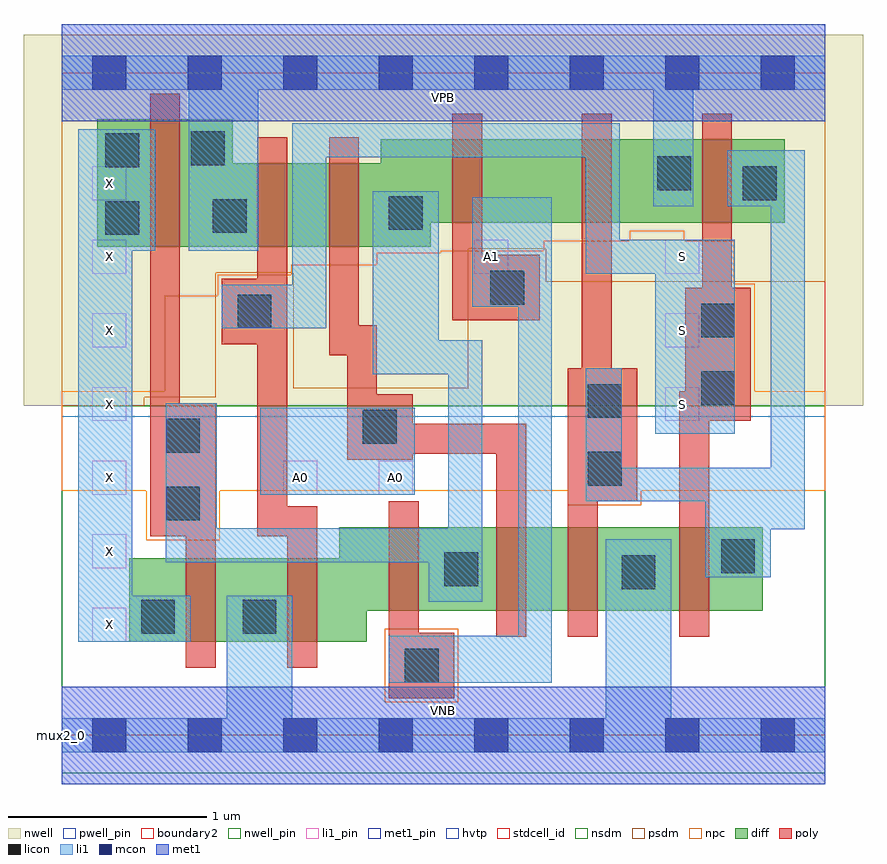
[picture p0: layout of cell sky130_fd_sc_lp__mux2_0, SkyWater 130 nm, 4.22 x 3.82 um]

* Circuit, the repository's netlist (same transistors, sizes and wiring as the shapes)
* Copyright 2020 The SkyWater PDK Authors
*
* Licensed under the Apache License, Version 2.0 (the "License");
* you may not use this file except in compliance with the License.
* You may obtain a copy of the License at
*
*     https://www.apache.org/licenses/LICENSE-2.0
*
* Unless required by applicable law or agreed to in writing, software
* distributed under the License is distributed on an "AS IS" BASIS,
* WITHOUT WARRANTIES OR CONDITIONS OF ANY KIND, either express or implied.
* See the License for the specific language governing permissions and
* limitations under the License.
*
* SPDX-License-Identifier: Apache-2.0

.SUBCKT sky130_fd_sc_lp__mux2_0 A0 A1 S VGND VNB VPB VPWR X
*.PININFO A0:I A1:I S:I VGND:I VNB:I VPB:I VPWR:I X:O
MMNA00 xb A0 smdNA0 VNB sky130_fd_pr__nfet_01v8 m=1 w=0.42U l=0.15U mult=1 sa=0.265
+ sb=0.265 sd=0.28 area=0.063 perim=1.14
MMNA01 smdNA0 Sb VGND VNB sky130_fd_pr__nfet_01v8 m=1 w=0.42U l=0.15U mult=1 sa=0.265
+ sb=0.265 sd=0.28 area=0.063 perim=1.14
MMNA10 xb A1 sndNA1 VNB sky130_fd_pr__nfet_01v8 m=1 w=0.42U l=0.15U mult=1 sa=0.265
+ sb=0.265 sd=0.28 area=0.063 perim=1.14
MMNA11 sndNA1 S VGND VNB sky130_fd_pr__nfet_01v8 m=1 w=0.42U l=0.15U mult=1 sa=0.265
+ sb=0.265 sd=0.28 area=0.063 perim=1.14
MMIN1 Sb S VGND VNB sky130_fd_pr__nfet_01v8 m=1 w=0.42U l=0.15U mult=1 sa=0.265
+ sb=0.265 sd=0.28 area=0.063 perim=1.14
MMIN2 X xb VGND VNB sky130_fd_pr__nfet_01v8 m=1 w=0.42U l=0.15U mult=1 sa=0.265
+ sb=0.265 sd=0.28 area=0.063 perim=1.14
MMPA00 VPWR S sndPS VPB sky130_fd_pr__pfet_01v8_hvt m=1 w=0.42U l=0.15U mult=1
+ sa=0.265 sb=0.265 sd=0.28 area=0.063 perim=1.14
MMPA01 sndPS A0 xb VPB sky130_fd_pr__pfet_01v8_hvt m=1 w=0.42U l=0.15U mult=1 sa=0.265
+ sb=0.265 sd=0.28 area=0.063 perim=1.14
MMPA10 VPWR Sb sndPSb VPB sky130_fd_pr__pfet_01v8_hvt m=1 w=0.42U l=0.15U mult=1
+ sa=0.265 sb=0.265 sd=0.28 area=0.063 perim=1.14
MMPA11 sndPSb A1 xb VPB sky130_fd_pr__pfet_01v8_hvt m=1 w=0.42U l=0.15U mult=1
+ sa=0.265 sb=0.265 sd=0.28 area=0.063 perim=1.14
MMIP1 Sb S VPWR VPB sky130_fd_pr__pfet_01v8_hvt m=1 w=0.42U l=0.15U mult=1 sa=0.265
+ sb=0.265 sd=0.28 area=0.063 perim=1.14
MMIP2 X xb VPWR VPB sky130_fd_pr__pfet_01v8_hvt m=1 w=0.64U l=0.15U mult=1 sa=0.265
+ sb=0.265 sd=0.28 area=0.063 perim=1.14
.ENDS sky130_fd_sc_lp__mux2_0

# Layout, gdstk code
import gdstk
lib = gdstk.Library(unit=1e-6, precision=1e-09)
def R(c, l, rs):  # rectangles x0, y0, x1, y1
    for r in rs: c.add(gdstk.rectangle(r[:2], r[2:], *l))
def A(c, l, x, y, w, h, nx, ny, dx, dy):  # array of equal rectangles
    R(c, l, [(x+i*dx, y+j*dy, x+i*dx+w, y+j*dy+h) for i in range(nx) for j in range(ny)])
def P(c, l, *ps):  # polygons
    for p in ps: c.add(gdstk.Polygon(p, *l))
nwell_pin = (64, 16)
nwell = (64, 20)
diff = (65, 20)
poly = (66, 20)
licon = (66, 44)
li1_pin = (67, 16)
li1 = (67, 20)
mcon = (67, 44)
met1_pin = (68, 16)
met1 = (68, 20)
hvtp = (78, 44)
stdcell_id = (81, 4)
nsdm = (93, 44)
psdm = (94, 20)
npc = (95, 20)
pwell_pin = (122, 16)
boundary2 = (236, 0)

sky130_fd_sc_lp__mux2_0 = lib.new_cell('sky130_fd_sc_lp__mux2_0')
R(sky130_fd_sc_lp__mux2_0, nwell_pin, [(0,3.085,3.84,3.33)])
R(sky130_fd_sc_lp__mux2_0, nwell, [(-0.19,1.655,4.03,3.52)])
P(sky130_fd_sc_lp__mux2_0, diff, [(3.525,1.045),(1.395,1.045),(1.395,0.89),(0.34,0.89),(0.34,0.47),(1.535,0.47),(1.535,0.625),(3.525,0.625)],
  [(3.635,2.995),(1.605,2.995),(1.605,2.875),(0.86,2.875),(0.86,3.095),(0.18,3.095),(0.18,2.455),(1.855,2.455),(1.855,2.575),(3.635,2.575)])
P(sky130_fd_sc_lp__mux2_0, poly, [(0.775,1.67),(0.595,1.67),(0.595,3.225),(0.445,3.225),(0.445,1),(0.625,1),(0.625,0.34),(0.775,0.34)],
  [(1.285,1.15),(1.135,1.15),(1.135,3.005),(0.985,3.005),(0.985,2.295),(0.805,2.295),(0.805,1.965),(0.985,1.965),(0.985,1),(1.135,1),(1.135,0.34),(1.285,0.34)],
  [(1.975,0.515),(1.795,0.515),(1.795,1.175),(1.645,1.175),(1.645,0.185),(1.975,0.185)],
  [(2.335,1.565),(1.765,1.565),(1.765,1.715),(1.585,1.715),(1.585,2.06),(1.495,2.06),(1.495,3.005),(1.345,3.005),(1.345,1.91),(1.435,1.91),(1.435,1.385),(1.765,1.385),(1.765,1.415),(2.185,1.415),(2.185,0.495),(2.335,0.495)],
  [(2.405,2.415),(2.115,2.415),(2.115,3.125),(1.965,3.125),(1.965,2.085),(2.405,2.085)],
  [(2.895,1.845),(2.765,1.845),(2.765,3.125),(2.615,3.125),(2.615,1.845),(2.545,1.845),(2.545,0.495),(2.695,0.495),(2.695,1.175),(2.895,1.175)],
  [(3.465,2.25),(3.37,2.25),(3.37,3.125),(3.22,3.125),(3.22,2.25),(3.135,2.25),(3.135,1.73),(3.105,1.73),(3.105,0.495),(3.255,0.495),(3.255,1.58),(3.465,1.58)])
R(sky130_fd_sc_lp__mux2_0, licon, [(1.725,0.265,1.895,0.435), (0.4,0.51,0.57,0.68), (0.91,0.51,1.08,0.68), (2.815,0.735,2.985,0.905), (1.925,0.75,2.095,0.92), (3.315,0.815,3.485,0.985), (0.525,1.08,0.695,1.25), (2.645,1.255,2.815,1.425), (0.525,1.42,0.695,1.59), (1.515,1.465,1.685,1.635), (2.645,1.595,2.815,1.765), (3.215,1.66,3.385,1.83), (3.215,2,3.385,2.17), (0.885,2.045,1.055,2.215), (2.155,2.165,2.325,2.335), (0.22,2.515,0.39,2.685), (0.76,2.525,0.93,2.695), (1.645,2.54,1.815,2.71), (3.425,2.69,3.595,2.86), (2.995,2.74,3.165,2.91), (0.22,2.855,0.39,3.025), (0.65,2.865,0.82,3.035)])
A(sky130_fd_sc_lp__mux2_0, li1_pin, 0.155, 0.47, 0.17, 0.17, 1, 7, 0, 0.37)
A(sky130_fd_sc_lp__mux2_0, li1_pin, 3.035, 1.58, 0.17, 0.17, 1, 3, 0, 0.37)
R(sky130_fd_sc_lp__mux2_0, li1_pin, [(1.115,1.21,1.285,1.38), (1.595,1.21,1.765,1.38), (2.075,2.32,2.245,2.49)])
R(sky130_fd_sc_lp__mux2_0, li1, [(1,1.21,1.775,1.645)])
P(sky130_fd_sc_lp__mux2_0, li1, [(2.975,2.66),(2.975,3.245),(0.99,3.245),(0.99,2.435),(0.64,2.435),(0.64,3.245),(0,3.245),(0,3.415),(3.84,3.415),(3.84,3.245),(3.175,3.245),(3.175,2.66)],
  [(0.83,0.085),(0.83,0.7),(1.16,0.7),(1.16,0.085),(2.735,0.085),(2.735,0.985),(3.065,0.985),(3.065,0.085),(3.84,0.085),(3.84,-0.085),(0,-0.085),(0,0.085)],
  [(2.805,3.075),(2.805,2.49),(3.385,2.49),(3.385,1.515),(2.985,1.515),(2.985,2.32),(2.635,2.32),(2.635,2.905),(1.33,2.905),(1.33,2.045),(0.805,2.045),(0.805,2.265),(1.16,2.265),(1.16,3.075)],
  [(2.815,1.345),(3.565,1.345),(3.565,2.66),(3.345,2.66),(3.345,2.94),(3.735,2.94),(3.735,1.035),(3.565,1.035),(3.565,0.795),(3.235,0.795),(3.235,1.175),(2.635,1.175),(2.635,1.845),(2.815,1.845)],
  [(2.295,0.5),(2.295,2.155),(2.065,2.155),(2.065,2.705),(2.465,2.705),(2.465,0.265),(1.645,0.265),(1.645,0.5)],
  [(1.895,1.985),(2.115,1.985),(2.115,0.67),(1.845,0.67),(1.845,0.87),(0.525,0.87),(0.525,1.67),(0.78,1.67),(0.78,1.04),(1.945,1.04),(1.945,1.815),(1.565,1.815),(1.565,2.735),(1.895,2.735)],
  [(0.085,0.47),(0.085,3.045),(0.47,3.045),(0.47,2.435),(0.355,2.435),(0.355,0.7),(0.65,0.7),(0.65,0.47)])
A(sky130_fd_sc_lp__mux2_0, mcon, 0.155, -0.085, 0.17, 0.17, 8, 2, 0.48, 3.33)
R(sky130_fd_sc_lp__mux2_0, met1_pin, [(0,0,3.84,0.245), (0,3.085,3.84,3.33)])
R(sky130_fd_sc_lp__mux2_0, met1, [(0,-0.245,3.84,0.245), (0,3.085,3.84,3.575)])
R(sky130_fd_sc_lp__mux2_0, hvtp, [(0,1.6,3.84,3.33)])
R(sky130_fd_sc_lp__mux2_0, stdcell_id, [(0,0,3.84,3.33)])
R(sky130_fd_sc_lp__mux2_0, nsdm, [(0,-0.19,3.84,1.655)])
P(sky130_fd_sc_lp__mux2_0, psdm, [(3.84,3.52),(0,3.52),(0,1.655),(0.415,1.655),(0.415,1.7),(0.775,1.7),(0.775,2.325),(1.165,2.325),(1.165,1.745),(2.045,1.745),(2.045,2.445),(2.435,2.445),(2.435,2.28),(3.84,2.28)])
R(sky130_fd_sc_lp__mux2_0, npc, [(1.625,0.165,1.995,0.535)])
P(sky130_fd_sc_lp__mux2_0, npc, [(3.84,1.73),(3.485,1.73),(3.485,2.27),(3.38,2.27),(3.38,2.485),(3.13,2.485),(3.13,2.535),(2.855,2.535),(2.855,2.485),(2.425,2.485),(2.425,2.435),(1.905,2.435),(1.905,2.425),(1.585,2.425),(1.585,2.365),(1.155,2.365),(1.155,2.315),(0.785,2.315),(0.785,2.21),(0.52,2.21),(0.52,1.73),(0,1.73),(0,1.23),(0.425,1.23),(0.425,0.98),(0.795,0.98),(0.795,1.23),(2.545,1.23),(2.545,1.155),(2.915,1.155),(2.915,1.23),(3.84,1.23)])
R(sky130_fd_sc_lp__mux2_0, pwell_pin, [(0,0,3.84,0.245)])
R(sky130_fd_sc_lp__mux2_0, boundary2, [(0,0,3.84,3.33)])
sky130_fd_sc_lp__mux2_0.add(gdstk.Label('VNB', (1.92,0.123), layer=64, texttype=59))
sky130_fd_sc_lp__mux2_0.add(gdstk.Label('VPB', (1.92,3.208), layer=64, texttype=5))
sky130_fd_sc_lp__mux2_0.add(gdstk.Label('mux2_0', (0,0), layer=83, texttype=44))
sky130_fd_sc_lp__mux2_0.add(gdstk.Label('VPWR', (1.92,3.208), layer=68, texttype=5))
sky130_fd_sc_lp__mux2_0.add(gdstk.Label('VGND', (1.92,0.123), layer=68, texttype=5))
sky130_fd_sc_lp__mux2_0.add(gdstk.Label('S', (3.12,1.665), layer=67, texttype=5))
sky130_fd_sc_lp__mux2_0.add(gdstk.Label('S', (3.12,2.035), layer=67, texttype=5))
sky130_fd_sc_lp__mux2_0.add(gdstk.Label('S', (3.12,2.405), layer=67, texttype=5))
sky130_fd_sc_lp__mux2_0.add(gdstk.Label('A0', (1.2,1.295), layer=67, texttype=5))
sky130_fd_sc_lp__mux2_0.add(gdstk.Label('A0', (1.68,1.295), layer=67, texttype=5))
sky130_fd_sc_lp__mux2_0.add(gdstk.Label('A1', (2.16,2.405), layer=67, texttype=5))
sky130_fd_sc_lp__mux2_0.add(gdstk.Label('X', (0.24,0.555), layer=67, texttype=5))
sky130_fd_sc_lp__mux2_0.add(gdstk.Label('X', (0.24,0.925), layer=67, texttype=5))
sky130_fd_sc_lp__mux2_0.add(gdstk.Label('X', (0.24,1.295), layer=67, texttype=5))
sky130_fd_sc_lp__mux2_0.add(gdstk.Label('X', (0.24,1.665), layer=67, texttype=5))
sky130_fd_sc_lp__mux2_0.add(gdstk.Label('X', (0.24,2.035), layer=67, texttype=5))
sky130_fd_sc_lp__mux2_0.add(gdstk.Label('X', (0.24,2.405), layer=67, texttype=5))
sky130_fd_sc_lp__mux2_0.add(gdstk.Label('X', (0.24,2.775), layer=67, texttype=5))

lib.write_gds('sky130_fd_sc_lp__mux2_0.gds')
